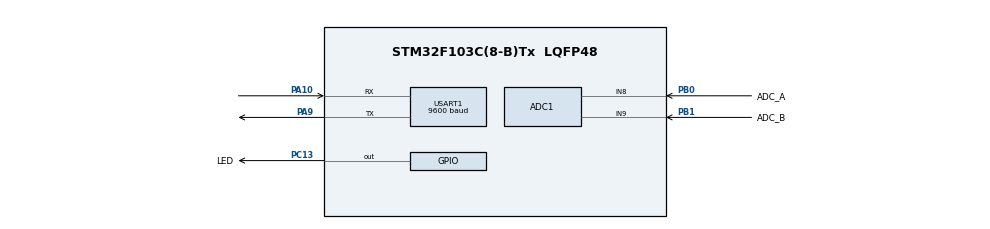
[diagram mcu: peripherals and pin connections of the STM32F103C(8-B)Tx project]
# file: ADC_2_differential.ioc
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ADC1.Channel-1\#ChannelRegularConversion=ADC_CHANNEL_8
ADC1.ContinuousConvMode=ENABLE
ADC1.NbrOfConversion=1
ADC1.NbrOfConversionFlag=1
ADC1.Rank-1\#ChannelRegularConversion=1
ADC1.SamplingTime-1\#ChannelRegularConversion=ADC_SAMPLETIME_13CYCLES_5
ADC1.master=1
Mcu.Family=STM32F1
Mcu.Name=STM32F103C(8-B)Tx
Mcu.Package=LQFP48
NVIC.PriorityGroup=NVIC_PRIORITYGROUP_4
PA10.Mode=Asynchronous
PA10.Signal=USART1_RX
PA13.Mode=Serial_Wire
PA13.Signal=SYS_JTMS-SWDIO
PA14.Mode=Serial_Wire
PA14.Signal=SYS_JTCK-SWCLK
PA9.Mode=Asynchronous
PA9.Signal=USART1_TX
PB0.GPIO_Label=ADC_A
PB0.Signal=ADCx_IN8
PB1.GPIO_Label=ADC_B
PB1.Signal=ADCx_IN9
PC13-TAMPER-RTC.GPIO_Label=LED
PC13-TAMPER-RTC.Signal=GPIO_Output
PD0-OSC_IN.Mode=HSE-External-Oscillator
PD0-OSC_IN.Signal=RCC_OSC_IN
PD1-OSC_OUT.Mode=HSE-External-Oscillator
PD1-OSC_OUT.Signal=RCC_OSC_OUT
ProjectManager.HeapSize=0x200
ProjectManager.StackSize=0x400
ProjectManager.TargetToolchain=STM32CubeIDE
RCC.APB1Freq_Value=8000000
RCC.APB2Freq_Value=8000000
SH.ADCx_IN8.0=ADC1_IN8,IN8
SH.ADCx_IN9.0=ADC1_IN9,IN9
USART1.BaudRate=9600
USART1.VirtualMode=VM_ASYNC
board=custom

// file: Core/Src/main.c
/* USER CODE BEGIN Header */
/**
  ******************************************************************************
  * @file           : main.c
  * @brief          : Main program body
  ******************************************************************************
  * @attention
  *
  * Copyright (c) 2023 STMicroelectronics.
  * All rights reserved.
  *
  * This software is licensed under terms that can be found in the LICENSE file
  * in the root directory of this software component.
  * If no LICENSE file comes with this software, it is provided AS-IS.
  *
  ******************************************************************************
  ******************************************************************************
  ******************************************************************************
  *
  * https://controllerstech.com/stm32-adc-multi-channel-without-dma/
  */
/* USER CODE END Header */
#include "main.h"

ADC_HandleTypeDef hadc1;

UART_HandleTypeDef huart1;

void SystemClock_Config(void);
static void MX_GPIO_Init(void);
static void MX_ADC1_Init(void);
static void MX_USART1_UART_Init(void);
/* USER CODE BEGIN PFP */
void select_adc_channel(uint8_t channel);
/* USER CODE END PFP */

int main(void)
{
  /* USER CODE BEGIN 1 */
	uint8_t welcome[] = "ADC program starting on PB0/PB1\r\n";
	uint16_t adcReadingA, adcReadingB, adcReadingDiff;
	uint8_t displayMessage[64];
	float voltageDiff;
  /* USER CODE END 1 */

  /* MCU Configuration--------------------------------------------------------*/

  /* Reset of all peripherals, Initializes the Flash interface and the Systick. */
  HAL_Init();

  /* Configure the system clock */
  SystemClock_Config();

  /* Initialize all configured peripherals */
  MX_GPIO_Init();
  MX_ADC1_Init();
  MX_USART1_UART_Init();
  /* USER CODE BEGIN 2 */
  HAL_UART_Transmit(&huart1, welcome, sizeof(welcome), 100);

  /* USER CODE END 2 */

  /* Infinite loop */
  /* USER CODE BEGIN WHILE */
  while (1)
  {
	  // Sample A
	  select_adc_channel(8);

	  HAL_ADC_Start(&hadc1);
	  HAL_ADC_PollForConversion(&hadc1, 500);
	  adcReadingA = (uint16_t) HAL_ADC_GetValue(&hadc1);
	  //HAL_ADC_Stop(&hadc1); // no need to stop it before changing the channel
	  // Sample B
	  select_adc_channel(9);

	  HAL_ADC_Start(&hadc1);
	  HAL_ADC_PollForConversion(&hadc1, 500);
	  adcReadingB = (uint16_t) HAL_ADC_GetValue(&hadc1);
	  //HAL_ADC_Stop(&hadc1);
	  // A - B
	  adcReadingDiff = adcReadingB - adcReadingA;
	  voltageDiff = (float)(adcReadingB - adcReadingA)*3.3/4095.0;

	  // Send value to terminal
	  empty_message(displayMessage, sizeof(displayMessage));

	  sprintf(displayMessage,"A:%d B:%d B-A:%d >> %.3f V\r\n", adcReadingA, adcReadingB, adcReadingDiff, voltageDiff);
	  /* Enable float with printf: Go to Project>Properties>C/C++ Build>Settings>Use float with printf*/

	  HAL_UART_Transmit(&huart1, (uint8_t *) displayMessage, sizeof(displayMessage), 100);
	  HAL_Delay(1000);

    /* USER CODE END WHILE */

  }
}

void SystemClock_Config(void)
{
  RCC_OscInitTypeDef RCC_OscInitStruct = {0};
  RCC_ClkInitTypeDef RCC_ClkInitStruct = {0};
  RCC_PeriphCLKInitTypeDef PeriphClkInit = {0};

  /** Initializes the RCC Oscillators according to the specified parameters
  * in the RCC_OscInitTypeDef structure.
  */
  RCC_OscInitStruct.OscillatorType = RCC_OSCILLATORTYPE_HSI;
  RCC_OscInitStruct.HSIState = RCC_HSI_ON;
  RCC_OscInitStruct.HSICalibrationValue = RCC_HSICALIBRATION_DEFAULT;
  RCC_OscInitStruct.PLL.PLLState = RCC_PLL_NONE;
  if (HAL_RCC_OscConfig(&RCC_OscInitStruct) != HAL_OK)
  {
    Error_Handler();
  }

  /** Initializes the CPU, AHB and APB buses clocks
  */
  RCC_ClkInitStruct.ClockType = RCC_CLOCKTYPE_HCLK|RCC_CLOCKTYPE_SYSCLK
                              |RCC_CLOCKTYPE_PCLK1|RCC_CLOCKTYPE_PCLK2;
  RCC_ClkInitStruct.SYSCLKSource = RCC_SYSCLKSOURCE_HSI;
  RCC_ClkInitStruct.AHBCLKDivider = RCC_SYSCLK_DIV1;
  RCC_ClkInitStruct.APB1CLKDivider = RCC_HCLK_DIV1;
  RCC_ClkInitStruct.APB2CLKDivider = RCC_HCLK_DIV1;

  if (HAL_RCC_ClockConfig(&RCC_ClkInitStruct, FLASH_LATENCY_0) != HAL_OK)
  {
    Error_Handler();
  }
  PeriphClkInit.PeriphClockSelection = RCC_PERIPHCLK_ADC;
  PeriphClkInit.AdcClockSelection = RCC_ADCPCLK2_DIV2;
  if (HAL_RCCEx_PeriphCLKConfig(&PeriphClkInit) != HAL_OK)
  {
    Error_Handler();
  }
}

static void MX_ADC1_Init(void)
{

  //ADC_ChannelConfTypeDef sConfig = {0};

  /** Common config
  */
  hadc1.Instance = ADC1;
  hadc1.Init.ScanConvMode = ADC_SCAN_DISABLE;
  hadc1.Init.ContinuousConvMode = ENABLE;
  hadc1.Init.DiscontinuousConvMode = DISABLE;
  hadc1.Init.ExternalTrigConv = ADC_SOFTWARE_START;
  hadc1.Init.DataAlign = ADC_DATAALIGN_RIGHT;
  hadc1.Init.NbrOfConversion = 1;
  if (HAL_ADC_Init(&hadc1) != HAL_OK)
  {
    Error_Handler();
  }

  /** Configure Regular Channel
  */
//  sConfig.Channel = ADC_CHANNEL_8;
//  sConfig.Rank = ADC_REGULAR_RANK_1;
//  sConfig.SamplingTime = ADC_SAMPLETIME_13CYCLES_5;
//  if (HAL_ADC_ConfigChannel(&hadc1, &sConfig) != HAL_OK)
//  {
//    Error_Handler();
//  }

}

static void MX_USART1_UART_Init(void)
{

  huart1.Instance = USART1;
  huart1.Init.BaudRate = 9600;
  huart1.Init.WordLength = UART_WORDLENGTH_8B;
  huart1.Init.StopBits = UART_STOPBITS_1;
  huart1.Init.Parity = UART_PARITY_NONE;
  huart1.Init.Mode = UART_MODE_TX_RX;
  huart1.Init.HwFlowCtl = UART_HWCONTROL_NONE;
  huart1.Init.OverSampling = UART_OVERSAMPLING_16;
  if (HAL_UART_Init(&huart1) != HAL_OK)
  {
    Error_Handler();
  }

}

static void MX_GPIO_Init(void)
{
  GPIO_InitTypeDef GPIO_InitStruct = {0};

  /* GPIO Ports Clock Enable */
  __HAL_RCC_GPIOC_CLK_ENABLE();
  __HAL_RCC_GPIOD_CLK_ENABLE();
  __HAL_RCC_GPIOB_CLK_ENABLE();
  __HAL_RCC_GPIOA_CLK_ENABLE();

  /*Configure GPIO pin Output Level */
  HAL_GPIO_WritePin(LED_GPIO_Port, LED_Pin, GPIO_PIN_RESET);

  /*Configure GPIO pin : LED_Pin */
  GPIO_InitStruct.Pin = LED_Pin;
  GPIO_InitStruct.Mode = GPIO_MODE_OUTPUT_PP;
  GPIO_InitStruct.Pull = GPIO_NOPULL;
  GPIO_InitStruct.Speed = GPIO_SPEED_FREQ_LOW;
  HAL_GPIO_Init(LED_GPIO_Port, &GPIO_InitStruct);

}

/* USER CODE BEGIN 4 */
void empty_message(uint8_t array[], uint8_t size){
	for(uint8_t i = 0 ; i < size; i++){
		array[i] = '\0';
	}
}

/*
 * How to create this function:
 * - Select Number of conversion = num of channels (2 in this case), then select each channel in the UI
 * - This will create the code in the adc_init function, that then we'll use to copy here
 * - Change Number of conversion back to 1, so it takes 1 sample w/each channel according to this setup
 * */
void select_adc_channel(uint8_t channel){

	ADC_ChannelConfTypeDef sConfig = {0};

	switch (channel){
	case 8:
		  sConfig.Channel = ADC_CHANNEL_8;
		  sConfig.Rank = ADC_REGULAR_RANK_1;
		  sConfig.SamplingTime = ADC_SAMPLETIME_13CYCLES_5;
		  if (HAL_ADC_ConfigChannel(&hadc1, &sConfig) != HAL_OK)
		  {
		    Error_Handler();
		  }
		break;

	case 9:
		  sConfig.Channel = ADC_CHANNEL_9;
		  sConfig.Rank = ADC_REGULAR_RANK_1;
		  sConfig.SamplingTime = ADC_SAMPLETIME_13CYCLES_5;
		  if (HAL_ADC_ConfigChannel(&hadc1, &sConfig) != HAL_OK)
		  {
		    Error_Handler();
		  }
		break;

	default:
		  sConfig.Channel = ADC_CHANNEL_8;
		  sConfig.Rank = ADC_REGULAR_RANK_1;
		  sConfig.SamplingTime = ADC_SAMPLETIME_13CYCLES_5;
		  if (HAL_ADC_ConfigChannel(&hadc1, &sConfig) != HAL_OK)
		  {
		    Error_Handler();
		  }
		break;
	}
}

/* USER CODE END 4 */

void Error_Handler(void)
{
  __disable_irq();
  while (1)
  {
  }
}
